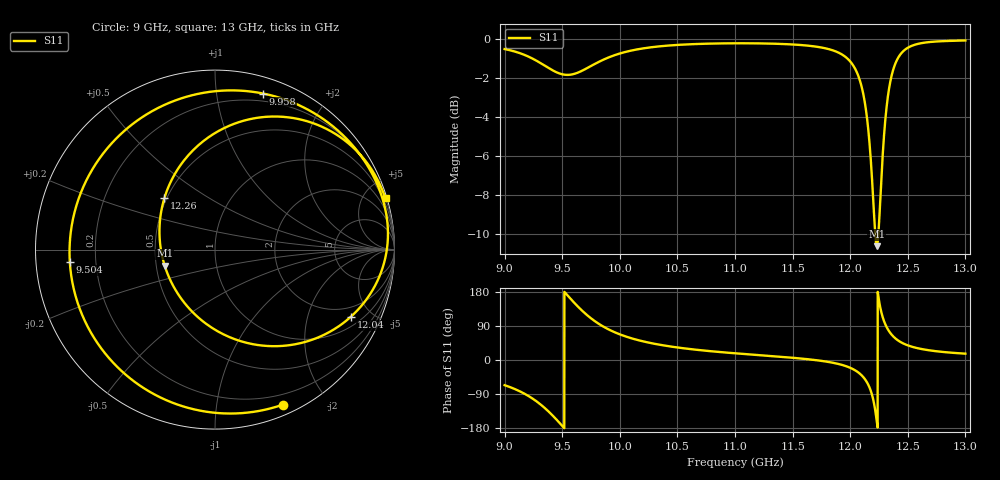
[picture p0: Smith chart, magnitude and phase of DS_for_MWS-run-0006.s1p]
! TOUCHSTONE file generated by CST DESIGN STUDIO
! Date and time: Wed Feb  5 13:44:20 2025
! Project name: C:\Work\MatlabApps\UnitCellOptimizationMatlab\CST\unitcell.cst
! Tree item: Tasks\Sweep1\SPara1\S-Parameters
! Header version: 2024
! Port assignment regex: !\s*Touchstone port\s*([0-9]+)\s*=\s*(CST MWS port|CST DES external port|CST DES block port)\s*(.+)\s* \(\"(.*)\"\)(\s*mode\s*([0-9]+))?.*
! Touchstone port assignment:
! Touchstone port 1 = CST DES external port 1 ("")
# GHz S MA R 50
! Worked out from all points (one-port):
!   4001 points, 9 GHz to 13 GHz, reference 50 ohm
!   lowest |S11| = -10.6 dB at 12.23 GHz (marker M1), VSWR 1.83, Z = 27.7 - j5.43 ohm
!   |S11| at or under -10 dB: 12.21746 GHz to 12.2448 GHz (27.34 MHz wide, 0.224 % of centre)
!   S11 on the Smith chart (normalised r, x): 9 GHz: 0.10, -1.52; 9.504 GHz: 0.10, -0.04; 9.958 GHz: 0.13, +1.35; 12.04 GHz: 1.44, -3.76; 12.26 GHz: 0.49, +0.33; 13 GHz: 0.19, +6.81
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9  0.9428 -66.4
9.167  0.9122 -88.1
9.284  0.8775 -110.7
9.386  0.8415 -137.2
9.5  0.8123 -173.8
9.504  0.8118 -175.2
9.596  0.813 153.8
9.717  0.8427 118.1
9.823  0.8756 94.4
9.958  0.9099 72.9
10  0.9183 67.7
10.215  0.9478 48.3
10.5  0.9661 33.1
11  0.9755 17.7
11.5  0.9687 5.9
11.803  0.9442 -4.7
12  0.8763 -20.6
12.038  0.8442 -26.3
12.104  0.7448 -41.9
12.161  0.5695 -67.9
12.196  0.4061 -99.3
12.231  0.2942 -162.3
12.264  0.4026 134.4
12.302  0.6073 96.2
12.342  0.7604 73.8
12.412  0.8909 52.3
12.5  0.95 38.6
13  0.9919 16.7
